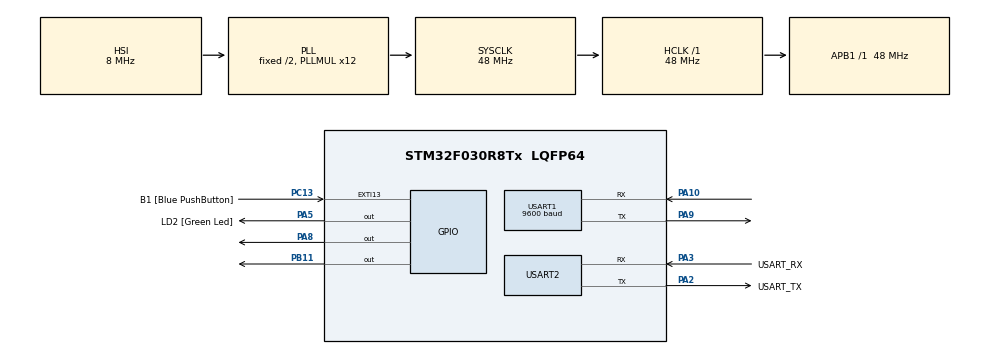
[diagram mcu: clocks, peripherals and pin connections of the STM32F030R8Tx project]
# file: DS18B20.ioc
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Dma.Request0=USART1_RX
Dma.Request1=USART1_TX
Dma.USART1_RX.0.Direction=DMA_PERIPH_TO_MEMORY
Dma.USART1_RX.0.Instance=DMA1_Channel3
Dma.USART1_RX.0.MemDataAlignment=DMA_MDATAALIGN_BYTE
Dma.USART1_RX.0.MemInc=DMA_MINC_ENABLE
Dma.USART1_RX.0.Mode=DMA_NORMAL
Dma.USART1_RX.0.PeriphDataAlignment=DMA_PDATAALIGN_BYTE
Dma.USART1_RX.0.PeriphInc=DMA_PINC_DISABLE
Dma.USART1_RX.0.Priority=DMA_PRIORITY_LOW
Dma.USART1_TX.1.Direction=DMA_MEMORY_TO_PERIPH
Dma.USART1_TX.1.Instance=DMA1_Channel2
Dma.USART1_TX.1.MemDataAlignment=DMA_MDATAALIGN_BYTE
Dma.USART1_TX.1.MemInc=DMA_MINC_ENABLE
Dma.USART1_TX.1.Mode=DMA_NORMAL
Dma.USART1_TX.1.PeriphDataAlignment=DMA_PDATAALIGN_BYTE
Dma.USART1_TX.1.PeriphInc=DMA_PINC_DISABLE
Dma.USART1_TX.1.Priority=DMA_PRIORITY_LOW
Mcu.Family=STM32F0
Mcu.Name=STM32F030R8Tx
Mcu.Package=LQFP64
NVIC.DMA1_Channel2_3_IRQn=true\:0\:0\:false\:false\:true\:false\:true
NVIC.TIM6_IRQn=true\:0\:0\:false\:false\:true\:true\:true
PA10.Mode=Asynchronous
PA10.Signal=USART1_RX
PA13.GPIO_Label=TMS
PA13.Mode=Serial_Wire
PA13.Signal=SYS_SWDIO
PA14.GPIO_Label=TCK
PA14.Mode=Serial_Wire
PA14.Signal=SYS_SWCLK
PA2.GPIO_Label=USART_TX
PA2.GPIO_Mode=GPIO_MODE_AF_PP
PA2.GPIO_PuPd=GPIO_NOPULL
PA2.GPIO_Speed=GPIO_SPEED_FREQ_LOW
PA2.Mode=Asynchronous
PA2.Signal=USART2_TX
PA3.GPIO_Label=USART_RX
PA3.GPIO_Mode=GPIO_MODE_AF_PP
PA3.GPIO_PuPd=GPIO_NOPULL
PA3.GPIO_Speed=GPIO_SPEED_FREQ_LOW
PA3.Mode=Asynchronous
PA3.Signal=USART2_RX
PA5.GPIO_Label=LD2 [Green Led]
PA5.GPIO_Mode=GPIO_MODE_OUTPUT_PP
PA5.GPIO_PuPd=GPIO_NOPULL
PA5.GPIO_Speed=GPIO_SPEED_FREQ_LOW
PA5.Signal=GPIO_Output
PA8.Signal=GPIO_Output
PA9.Mode=Asynchronous
PA9.Signal=USART1_TX
PB11.GPIO_ModeDefaultOutputPP=GPIO_MODE_OUTPUT_OD
PB11.GPIO_Speed=GPIO_SPEED_FREQ_HIGH
PB11.PinState=GPIO_PIN_RESET
PB11.Signal=GPIO_Output
PC13.GPIO_Label=B1 [Blue PushButton]
PC13.GPIO_ModeDefaultEXTI=GPIO_MODE_IT_FALLING
PC13.Signal=GPXTI13
PC14-OSC32_IN.Mode=LSE-External-Oscillator
PC14-OSC32_IN.Signal=RCC_OSC32_IN
PC15-OSC32_OUT.Mode=LSE-External-Oscillator
PC15-OSC32_OUT.Signal=RCC_OSC32_OUT
PF0-OSC_IN.Mode=HSE-External-Clock-Source
PF0-OSC_IN.Signal=RCC_OSC_IN
PF1-OSC_OUT.Signal=RCC_OSC_OUT
ProjectManager.HeapSize=0x200
ProjectManager.StackSize=0x400
ProjectManager.TargetToolchain=TrueSTUDIO
RCC.AHBFreq_Value=48000000
RCC.APB1Freq_Value=48000000
RCC.APB1TimFreq_Value=48000000
RCC.HCLKFreq_Value=48000000
RCC.PLLMUL=RCC_PLL_MUL12
RCC.SYSCLKFreq_VALUE=48000000
RCC.SYSCLKSource=RCC_SYSCLKSOURCE_PLLCLK
TIM6.AutoReloadPreload=TIM_AUTORELOAD_PRELOAD_DISABLE
TIM6.Period=20
TIM6.Prescaler=23
USART1.BaudRate=9600
USART1.VirtualMode-Asynchronous=VM_ASYNC
USART2.VirtualMode-Asynchronous=VM_ASYNC
VP_TIM6_VS_ClockSourceINT.Mode=Enable_Timer
board=NUCLEO-F030R8

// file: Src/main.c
/* USER CODE BEGIN Header */
/**
  ******************************************************************************
  * @file           : main.c
  * @brief          : Main program body
  ******************************************************************************
  * @attention
  *
  * <h2><center>&copy; Copyright (c) 2019 STMicroelectronics.
  * All rights reserved.</center></h2>
  *
  * This software component is licensed by ST under BSD 3-Clause license,
  * the "License"; You may not use this file except in compliance with the
  * License. You may obtain a copy of the License at:
  *                        opensource.org/licenses/BSD-3-Clause
  *
  ******************************************************************************
  */
/* USER CODE END Header */

#include "main.h"

/* USER CODE BEGIN Includes */
#include "ds18b20.h"

/* USER CODE END Includes */

/* USER CODE BEGIN PTD */
volatile int Delay_us = 0;
void Delay(int us);
char str1[60];
uint8_t status;
uint8_t dt[8];
uint16_t raw_temper;
float temper;
char c;
uint8_t i;
uint8_t Dev_ID[8][8] = {0};
uint8_t Dev_Cnt;
/* USER CODE END PTD */

TIM_HandleTypeDef htim6;

UART_HandleTypeDef huart1;
UART_HandleTypeDef huart2;
DMA_HandleTypeDef hdma_usart1_rx;
DMA_HandleTypeDef hdma_usart1_tx;

void SystemClock_Config(void);
static void MX_GPIO_Init(void);
static void MX_DMA_Init(void);
static void MX_USART1_UART_Init(void);
static void MX_USART2_UART_Init(void);
static void MX_TIM6_Init(void);

int main(void)
{

  /* MCU Configuration--------------------------------------------------------*/

  /* Reset of all peripherals, Initializes the Flash interface and the Systick. */
  HAL_Init();

  /* Configure the system clock */
  SystemClock_Config();

  /* Initialize all configured peripherals */
  MX_GPIO_Init();
  MX_DMA_Init();
  MX_USART1_UART_Init();
  MX_USART2_UART_Init();
  MX_TIM6_Init();
  /* USER CODE BEGIN 2 */
  HAL_TIM_Base_Start_IT(&htim6);
  /* USER CODE END 2 */

  /* Infinite loop */
  /* USER CODE BEGIN WHILE */

	status = ds18b20_init(NO_SKIP_ROM);
	sprintf(str1,"Init Status: %d\r\n",status);
	HAL_UART_Transmit(&huart2,(uint8_t*)str1,strlen(str1),0x1000);
	sprintf(str1,"Dev count: %d\r\n", Dev_Cnt);
	HAL_UART_Transmit(&huart2,(uint8_t*)str1,strlen(str1),0x1000);
	for(i=1;i<=Dev_Cnt;i++)
	{
		sprintf(str1,"Device %d\r\n", i);
		HAL_UART_Transmit(&huart2,(uint8_t*)str1,strlen(str1),0x1000);
		sprintf(str1,"ROM RAW: %02X %02X %02X %02X %02X %02X %02X %02X\r\n",
			Dev_ID[i-1][0], Dev_ID[i-1][1], Dev_ID[i-1][2], Dev_ID[i-1][3],
			Dev_ID[i-1][4], Dev_ID[i-1][5], Dev_ID[i-1][6], Dev_ID[i-1][7]);
		HAL_UART_Transmit(&huart2,(uint8_t*)str1,strlen(str1),0x1000);
		sprintf(str1,"Family CODE: 0x%02X\r\n", Dev_ID[i-1][0]);
		HAL_UART_Transmit(&huart2,(uint8_t*)str1,strlen(str1),0x1000);
		sprintf(str1,"ROM CODE: 0x%02X%02X%02X%02X%02X%02X\r\n", Dev_ID[i-1][6], Dev_ID[i-1][5],
			Dev_ID[i-1][4], Dev_ID[i-1][3], Dev_ID[i-1][2], Dev_ID[i-1][1]);
		HAL_UART_Transmit(&huart2,(uint8_t*)str1,strlen(str1),0x1000);
		sprintf(str1,"CRC: 0x%02X\r\n", Dev_ID[i-1][7]);
		HAL_UART_Transmit(&huart2,(uint8_t*)str1,strlen(str1),0x1000);
	}

  for(uint8_t i = 0; i<100; i++){

//	 ds18b20_Reset();
	  HAL_GPIO_TogglePin(GPIOA, GPIO_PIN_5);

	  Delay(10);
  }
  while (1)
  {
    /* USER CODE END WHILE */

    /* USER CODE BEGIN 3 */
	  /*
		for(i=1;i<=Dev_Cnt;i++)
		{
			ds18b20_MeasureTemperCmd(NO_SKIP_ROM, i);
		}
		HAL_Delay(800);
		for(i=1;i<=Dev_Cnt;i++)
		{
			ds18b20_ReadStratcpad(NO_SKIP_ROM, dt, i);
			sprintf(str1,"STRATHPAD %d: %02X %02X %02X %02X %02X %02X %02X %02X; ",
				i, dt[0], dt[1], dt[2], dt[3], dt[4], dt[5], dt[6], dt[7]);
			HAL_UART_Transmit(&huart2,(uint8_t*)str1,strlen(str1),0x1000);
			raw_temper = ((uint16_t)dt[1]<<8)|dt[0];
			if(ds18b20_GetSign(raw_temper)) c='-';
			else c='+';
			temper = ds18b20_Convert(raw_temper);
			sprintf(str1,"Raw t: 0x%04X; t: %c%.2f\r\n", raw_temper, c, temper);
			HAL_UART_Transmit(&huart2,(uint8_t*)str1,strlen(str1),0x1000);
		}
		HAL_Delay(150);
*/

	  //		ds18b20_MeasureTemperCmd(SKIP_ROM, 0);
//		HAL_Delay(800);
//		ds18b20_ReadStratcpad(SKIP_ROM, dt, 0);
//		sprintf(str1,"STRATHPAD: %02X %02X %02X %02X %02X %02X %02X %02X; ",
//		dt[0], dt[1], dt[2], dt[3], dt[4], dt[5], dt[6], dt[7]);
//		HAL_UART_Transmit(&huart2,(uint8_t*)str1,strlen(str1),0x1000);
//		raw_temper = ((uint16_t)dt[1]<<8)|dt[0];
//		if(ds18b20_GetSign(raw_temper)) c='-';
//		else c='+';
//		temper = ds18b20_Convert(raw_temper);
//		sprintf(str1,"Raw t: 0x%04X; t: %c%.2f\r\n", raw_temper, c, temper);
//		HAL_UART_Transmit(&huart2,(uint8_t*)str1,strlen(str1),0x1000);
//		HAL_Delay(150);
  }
  /* USER CODE END 3 */
}

void SystemClock_Config(void)
{
  RCC_OscInitTypeDef RCC_OscInitStruct = {0};
  RCC_ClkInitTypeDef RCC_ClkInitStruct = {0};
  RCC_PeriphCLKInitTypeDef PeriphClkInit = {0};

  /** Initializes the CPU, AHB and APB busses clocks
  */
  RCC_OscInitStruct.OscillatorType = RCC_OSCILLATORTYPE_HSI;
  RCC_OscInitStruct.HSIState = RCC_HSI_ON;
  RCC_OscInitStruct.HSICalibrationValue = RCC_HSICALIBRATION_DEFAULT;
  RCC_OscInitStruct.PLL.PLLState = RCC_PLL_ON;
  RCC_OscInitStruct.PLL.PLLSource = RCC_PLLSOURCE_HSI;
  RCC_OscInitStruct.PLL.PLLMUL = RCC_PLL_MUL12;
  RCC_OscInitStruct.PLL.PREDIV = RCC_PREDIV_DIV1;
  if (HAL_RCC_OscConfig(&RCC_OscInitStruct) != HAL_OK)
  {
    Error_Handler();
  }
  /** Initializes the CPU, AHB and APB busses clocks
  */
  RCC_ClkInitStruct.ClockType = RCC_CLOCKTYPE_HCLK|RCC_CLOCKTYPE_SYSCLK
                              |RCC_CLOCKTYPE_PCLK1;
  RCC_ClkInitStruct.SYSCLKSource = RCC_SYSCLKSOURCE_PLLCLK;
  RCC_ClkInitStruct.AHBCLKDivider = RCC_SYSCLK_DIV1;
  RCC_ClkInitStruct.APB1CLKDivider = RCC_HCLK_DIV1;

  if (HAL_RCC_ClockConfig(&RCC_ClkInitStruct, FLASH_LATENCY_1) != HAL_OK)
  {
    Error_Handler();
  }
  PeriphClkInit.PeriphClockSelection = RCC_PERIPHCLK_USART1;
  PeriphClkInit.Usart1ClockSelection = RCC_USART1CLKSOURCE_PCLK1;
  if (HAL_RCCEx_PeriphCLKConfig(&PeriphClkInit) != HAL_OK)
  {
    Error_Handler();
  }
}

static void MX_TIM6_Init(void)
{

  htim6.Instance = TIM6;
  htim6.Init.Prescaler = 47;
  htim6.Init.CounterMode = TIM_COUNTERMODE_UP;
  htim6.Init.Period = 9;
  htim6.Init.AutoReloadPreload = TIM_AUTORELOAD_PRELOAD_DISABLE;
  if (HAL_TIM_Base_Init(&htim6) != HAL_OK)
  {
    Error_Handler();
  }

}

static void MX_USART1_UART_Init(void)
{

  huart1.Instance = USART1;
  huart1.Init.BaudRate = 9600;
  huart1.Init.WordLength = UART_WORDLENGTH_8B;
  huart1.Init.StopBits = UART_STOPBITS_1;
  huart1.Init.Parity = UART_PARITY_NONE;
  huart1.Init.Mode = UART_MODE_TX_RX;
  huart1.Init.HwFlowCtl = UART_HWCONTROL_NONE;
  huart1.Init.OverSampling = UART_OVERSAMPLING_16;
  huart1.Init.OneBitSampling = UART_ONE_BIT_SAMPLE_DISABLE;
  huart1.AdvancedInit.AdvFeatureInit = UART_ADVFEATURE_NO_INIT;
  if (HAL_UART_Init(&huart1) != HAL_OK)
  {
    Error_Handler();
  }

}

static void MX_USART2_UART_Init(void)
{

  huart2.Instance = USART2;
  huart2.Init.BaudRate = 38400;
  huart2.Init.WordLength = UART_WORDLENGTH_8B;
  huart2.Init.StopBits = UART_STOPBITS_1;
  huart2.Init.Parity = UART_PARITY_NONE;
  huart2.Init.Mode = UART_MODE_TX_RX;
  huart2.Init.HwFlowCtl = UART_HWCONTROL_NONE;
  huart2.Init.OverSampling = UART_OVERSAMPLING_16;
  huart2.Init.OneBitSampling = UART_ONE_BIT_SAMPLE_DISABLE;
  huart2.AdvancedInit.AdvFeatureInit = UART_ADVFEATURE_NO_INIT;
  if (HAL_UART_Init(&huart2) != HAL_OK)
  {
    Error_Handler();
  }

}

static void MX_DMA_Init(void)
{
  /* DMA controller clock enable */
  __HAL_RCC_DMA1_CLK_ENABLE();

  /* DMA interrupt init */
  /* DMA1_Channel2_3_IRQn interrupt configuration */
  HAL_NVIC_SetPriority(DMA1_Channel2_3_IRQn, 0, 0);
  HAL_NVIC_EnableIRQ(DMA1_Channel2_3_IRQn);

}

static void MX_GPIO_Init(void)
{
  GPIO_InitTypeDef GPIO_InitStruct = {0};

  /* GPIO Ports Clock Enable */
  __HAL_RCC_GPIOC_CLK_ENABLE();
  __HAL_RCC_GPIOF_CLK_ENABLE();
  __HAL_RCC_GPIOA_CLK_ENABLE();
  __HAL_RCC_GPIOB_CLK_ENABLE();

  /*Configure GPIO pin Output Level */
  HAL_GPIO_WritePin(GPIOA, LD2_Pin|GPIO_PIN_8, GPIO_PIN_RESET);

  /*Configure GPIO pin Output Level */
  HAL_GPIO_WritePin(GPIOB, GPIO_PIN_11, GPIO_PIN_RESET);

  /*Configure GPIO pin : B1_Pin */
  GPIO_InitStruct.Pin = B1_Pin;
  GPIO_InitStruct.Mode = GPIO_MODE_IT_FALLING;
  GPIO_InitStruct.Pull = GPIO_NOPULL;
  HAL_GPIO_Init(B1_GPIO_Port, &GPIO_InitStruct);

  /*Configure GPIO pins : LD2_Pin PA8 */
  GPIO_InitStruct.Pin = LD2_Pin|GPIO_PIN_8;
  GPIO_InitStruct.Mode = GPIO_MODE_OUTPUT_PP;
  GPIO_InitStruct.Pull = GPIO_NOPULL;
  GPIO_InitStruct.Speed = GPIO_SPEED_FREQ_LOW;
  HAL_GPIO_Init(GPIOA, &GPIO_InitStruct);

  /*Configure GPIO pin : PB11 */
  GPIO_InitStruct.Pin = GPIO_PIN_11;
  GPIO_InitStruct.Mode = GPIO_MODE_OUTPUT_OD;
  GPIO_InitStruct.Pull = GPIO_NOPULL;
  GPIO_InitStruct.Speed = GPIO_SPEED_FREQ_HIGH;
  HAL_GPIO_Init(GPIOB, &GPIO_InitStruct);

}

/* USER CODE BEGIN 4 */
void Delay(int us)
{
    Delay_us = us/10;
    while(Delay_us);
}
/* USER CODE END 4 */

void Error_Handler(void)
{
}

/************************ (C) COPYRIGHT STMicroelectronics *****END OF FILE****/
